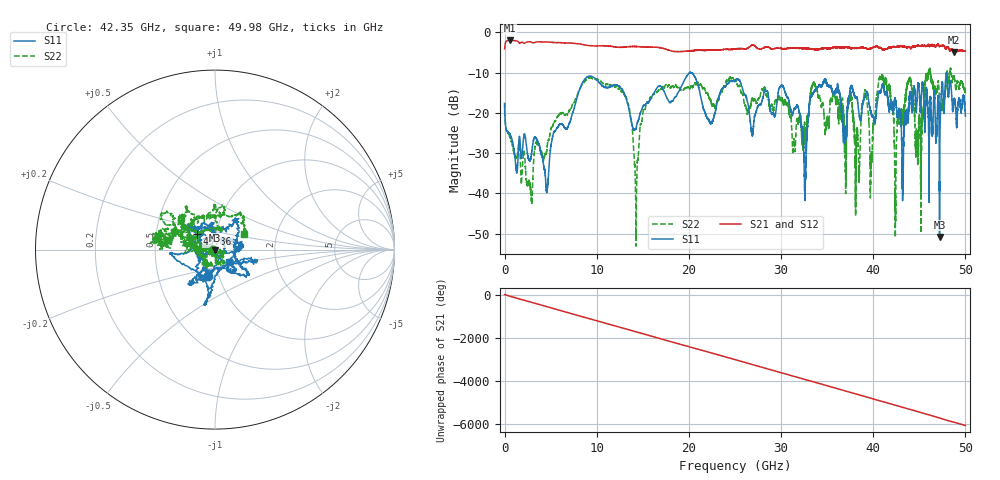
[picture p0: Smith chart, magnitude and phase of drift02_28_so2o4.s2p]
!Created with skrf (http://scikit-rf.org).
# Hz S RI R 50.0
!freq ReS11 ImS11 ReS21 ImS21 ReS12 ImS12 ReS22 ImS22
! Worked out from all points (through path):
!   10001 points, 300 kHz to 50 GHz, reference 50 ohm
!   highest |S21| = -1.99 dB at 560.3 MHz (marker M1); lowest = -4.9 dB at 48.76 GHz (marker M2)
!   group delay of S21, straight-line fit = 337 ps
!   lowest |S11| = -50.8 dB at 47.2 GHz (marker M3), VSWR 1.01, Z = 49.9 - j0.281 ohm
!   |S11| at or under -10 dB: start of sweep to 20.06 GHz; 20.20761 GHz to 20.22055 GHz (12.94 MHz wide, 0.064 % of centre); 20.24 GHz to end of sweep (the widest 3 of 6)
!   |S22| runs from -53.1 to -8.8 dB; largest |S21 - S12| = 0.031
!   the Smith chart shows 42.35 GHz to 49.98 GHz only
!   S11 on the Smith chart (normalised r, x): 42.35 GHz: 0.89, -0.26; 43.86 GHz: 0.81, +0.14; 49.98 GHz: 1.16, -0.16
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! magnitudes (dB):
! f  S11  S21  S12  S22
! 300 kHz  -17.8  -4.1  -4.0  -17.4
! 560.3 MHz  -25.2  -2.0  -2.0  -25.9
! 2.785 GHz  -31.4  -2.4  -2.4  -38.6
! 4.565 GHz  -39.7  -2.4  -2.4  -29.4
! 8.335 GHz  -13.0  -2.9  -2.9  -13.2
! 13.01 GHz  -15.2  -3.6  -3.6  -15.6
! 14.28 GHz  -23.7  -3.5  -3.5  -49.4
! 16.67 GHz  -13.4  -3.7  -3.7  -14.5
! 25 GHz  -12.1  -4.1  -4.1  -12.1
! 30.18 GHz  -13.3  -4.0  -4.1  -16.9
! 32.56 GHz  -39.2  -3.9  -4.0  -23.6
! 33.34 GHz  -15.8  -4.0  -4.1  -13.5
! 38.29 GHz  -16.9  -3.9  -3.9  -23.9
! 41.67 GHz  -18.5  -3.8  -3.9  -13.1
! 42.35 GHz  -16.4  -3.6  -3.6  -37.7
! 43.86 GHz  -17.6  -3.6  -3.6  -11.8
! 44.99 GHz  -14.5  -3.4  -3.3  -21.3
! 45.9 GHz  -17.3  -3.3  -3.2  -11.2
! 47.2 GHz  -50.8  -3.5  -3.4  -17.2
! 48.76 GHz  -16.7  -4.9  -4.8  -10.8
! 49.98 GHz  -19.8  -4.6  -4.6  -14.6
! 50 GHz  -20.8  -4.7  -4.6  -14.9
